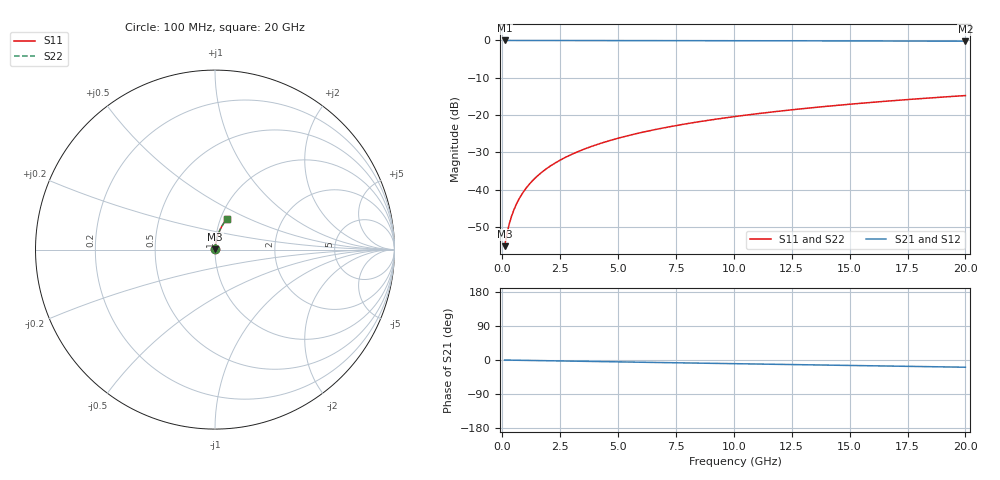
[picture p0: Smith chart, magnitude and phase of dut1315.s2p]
! Touchstone file exported from HFSS 2026.1.0
!  File:  C:/ffzhzh/LocalFiles/Ansys_Project_Files/temp_train_TMRDL_1315_1783164940_51560.aedt
!  Generated:  07:36:54 PM Jul  4, 2026
!  Design:  TMRDL
!  Project:  temp_train_TMRDL_1315_1783164940_51560
! Variables:
!  h_bsmrdl = 2um
!  h_ox = 20um
!  h_rdl = 5um
!  h_sub = 80um
!  h_tmrdl = 4.69um
!  h_tsv = 80um
!  h_via = 3um
!  l_bsmrdl = 300um
!  l_sub = 662.23um
!  l_tmrdl = 262.23um
!  m_sub = 200um
!  pitch = 36.83um
!  r_tsv = 6um
!  s_tmrdl = 10um
!  w_bsmrdl = 18um
!  w_sub = 500um
!  w_tmrdl = 16.1um
!  x_tsv_center1 = 270.28um
!  x_tsv_center2 = 588.28um
!  x_tsv_center3 = 866.61um
!  x_tsv_center4 = 1184.61um
!  x_tsv_center5 = 1462.94um
!  x_tsv_center6 = 1780.94um
# GHz S MA R 50.000000
! Terminal data exported
! Port[1] = TM_RDL1_1_T1
! Port[2] = TM_RDL1_1_T2
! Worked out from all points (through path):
!   200 points, 100 MHz to 20 GHz, reference 50 ohm
!   highest |S21| = -0.01 dB at 100 MHz (marker M1); lowest = -0.2 dB at 20 GHz (marker M2)
!   group delay of S21, straight-line fit = 2.64 ps
!   lowest |S11| = -55.2 dB at 100 MHz (marker M3), VSWR 1.00, Z = 50.1 + j0.108 ohm
!   |S11| at or under -10 dB: start of sweep to end of sweep
!   |S22| runs from -55.2 to -14.8 dB; largest |S21 - S12| = 3.4e-15
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0.1  0.001737 38.1  0.9986 -0.1  0.9986 -0.1  0.001737 38.1
! Gamma 0 0 0 0
! Port Impedance 50 0 50 0
0.2  0.002547 55.8  0.9986 -0.2  0.9986 -0.2  0.002547 55.8
0.3  0.00345 64.3  0.9985 -0.3  0.9985 -0.3  0.00345 64.3
0.4  0.004378 69.3  0.9985 -0.4  0.9985 -0.4  0.004379 69.3
0.5  0.005321 72.5  0.9984 -0.5  0.9984 -0.5  0.005321 72.5
0.6  0.006273 74.8  0.9984 -0.6  0.9984 -0.6  0.006274 74.8
0.8  0.008199 77.8  0.9983 -0.8  0.9983 -0.8  0.0082 77.8
1.1  0.01112 80.2  0.9982 -1.1  0.9982 -1.1  0.01112 80.2
1.5  0.01503 81.7  0.9981 -1.5  0.9981 -1.5  0.01503 81.7
1.8  0.01797 82.3  0.998 -1.8  0.998 -1.8  0.01797 82.3
2.1  0.0209 82.6  0.9978 -2.1  0.9978 -2.1  0.0209 82.6
2.7  0.02674 82.8  0.9975 -2.7  0.9975 -2.7  0.02674 82.8
3.5  0.03446 82.5  0.997 -3.5  0.997 -3.5  0.03446 82.5
4.2  0.04115 82.1  0.9965 -4.1  0.9965 -4.1  0.04115 82.1
5  0.04873 81.6  0.9958 -4.9  0.9958 -4.9  0.04873 81.6
5.9  0.05717 80.9  0.9951 -5.8  0.9951 -5.8  0.05717 80.9
6.8  0.06554 80.2  0.9942 -6.7  0.9942 -6.7  0.06554 80.2
8.3  0.07935 79.0  0.9928 -8.1  0.9928 -8.1  0.07935 79.0
10.1  0.09573 77.5  0.9908 -9.8  0.9908 -9.8  0.09573 77.5
13.4  0.1252 74.7  0.9868 -12.9  0.9868 -12.9  0.1252 74.6
16.7  0.154 71.8  0.9822 -16.0  0.9822 -16.0  0.154 71.8
20  0.182 68.9  0.9769 -19.1  0.9769 -19.1  0.182 68.9
